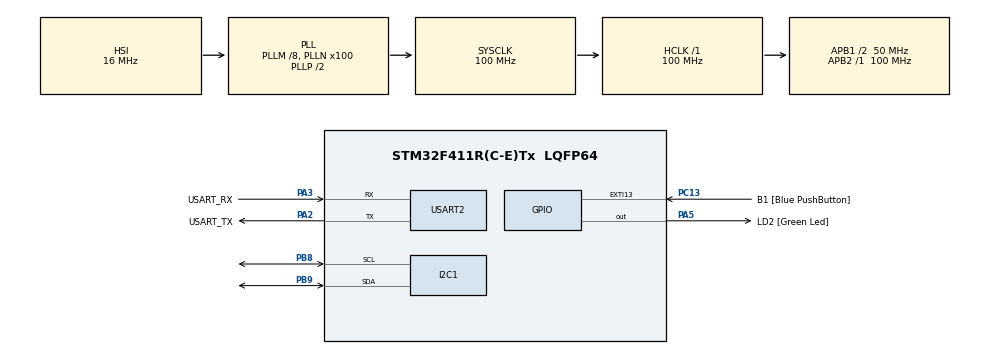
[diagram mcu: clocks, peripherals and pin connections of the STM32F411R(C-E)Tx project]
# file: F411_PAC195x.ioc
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I2C1.I2C_Mode=I2C_Fast
Mcu.Family=STM32F4
Mcu.Name=STM32F411R(C-E)Tx
Mcu.Package=LQFP64
NVIC.EXTI15_10_IRQn=true\:0\:0\:false\:false\:true\:true\:true\:true
NVIC.PriorityGroup=NVIC_PRIORITYGROUP_0
NVIC.TIM1_TRG_COM_TIM11_IRQn=true\:0\:0\:false\:false\:true\:true\:true\:true
PA13.GPIO_Label=TMS
PA13.Mode=Serial_Wire
PA13.Signal=SYS_JTMS-SWDIO
PA14.GPIO_Label=TCK
PA14.Mode=Serial_Wire
PA14.Signal=SYS_JTCK-SWCLK
PA2.GPIO_Label=USART_TX
PA2.Mode=Asynchronous
PA2.Signal=USART2_TX
PA3.GPIO_Label=USART_RX
PA3.Mode=Asynchronous
PA3.Signal=USART2_RX
PA5.GPIO_Label=LD2 [Green Led]
PA5.Signal=GPIO_Output
PB3.GPIO_Label=SWO
PB3.Signal=SYS_JTDO-SWO
PB8.Mode=I2C
PB8.Signal=I2C1_SCL
PB9.Mode=I2C
PB9.Signal=I2C1_SDA
PC13-ANTI_TAMP.GPIO_Label=B1 [Blue PushButton]
PC13-ANTI_TAMP.GPIO_ModeDefaultEXTI=GPIO_MODE_IT_FALLING
PC13-ANTI_TAMP.Signal=GPXTI13
PC14-OSC32_IN.Mode=LSE-External-Oscillator
PC14-OSC32_IN.Signal=RCC_OSC32_IN
PC15-OSC32_OUT.Mode=LSE-External-Oscillator
PC15-OSC32_OUT.Signal=RCC_OSC32_OUT
PH0\ -\ OSC_IN.Mode=HSE-External-Clock-Source
PH0\ -\ OSC_IN.Signal=RCC_OSC_IN
PH1\ -\ OSC_OUT.Mode=HSE-External-Clock-Source
PH1\ -\ OSC_OUT.Signal=RCC_OSC_OUT
ProjectManager.HeapSize=0x200
ProjectManager.StackSize=0x400
ProjectManager.TargetToolchain=STM32CubeIDE
RCC.48MHZClocksFreq_Value=50000000
RCC.AHBFreq_Value=100000000
RCC.APB1CLKDivider=RCC_HCLK_DIV2
RCC.APB1Freq_Value=50000000
RCC.APB1TimFreq_Value=100000000
RCC.APB2Freq_Value=100000000
RCC.APB2TimFreq_Value=100000000
RCC.CortexFreq_Value=100000000
RCC.FLatency-AdvancedSettings=FLASH_LATENCY_3
RCC.HCLKFreq_Value=100000000
RCC.HSE_VALUE=8000000
RCC.HSI_VALUE=16000000
RCC.PLLM=8
RCC.PLLN=100
RCC.SYSCLKFreq_VALUE=100000000
RCC.SYSCLKSource=RCC_SYSCLKSOURCE_PLLCLK
RCC.VCOOutputFreq_Value=200000000
TIM11.Prescaler=99
USART2.VirtualMode=VM_ASYNC
VP_TIM11_VS_ClockSourceINT.Mode=Enable_Timer
board=NUCLEO-F411RE

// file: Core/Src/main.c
/* USER CODE BEGIN Header */
/**
  ******************************************************************************
  * @file           : main.c
  * @brief          : Main program body
  ******************************************************************************
  * @attention
  *
  * Copyright (c) 2022 STMicroelectronics.
  * All rights reserved.
  *
  * This software is licensed under terms that can be found in the LICENSE file
  * in the root directory of this software component.
  * If no LICENSE file comes with this software, it is provided AS-IS.
  *
  ******************************************************************************
  */
/* USER CODE END Header */
#include "main.h"
/* USER CODE BEGIN Includes */
#include "PAC195X.h"
/* USER CODE END Includes */

/* USER CODE BEGIN PD */
#define ADDR_PAC 0b00100000 // 0010 000 (R/W)
/* USER CODE END PD */

I2C_HandleTypeDef hi2c1;

TIM_HandleTypeDef htim11;

UART_HandleTypeDef huart2;

/* USER CODE BEGIN PV */
uint32_t timeStampPAC = 0;

PAC_CTRL_Strc CTRL_read;
PAC_CTRL_Strc CTRL_ACT_read;
PAC_CTRL_Strc CTRL_LAT_read;

union testp_U{
	uint32_t tst32;
	uint16_t tst16[2];
	uint8_t tst8[4];
}testp;

union testp_U2{
	uint32_t tst32;
	uint16_t tst16[2];
	uint8_t tst8[4];
}testp_2;

uint8_t flag_pac = 0;
uint8_t flag_refresh = 0;
uint8_t hexis = 0x07;

float Busv = 0.0;
float Busvv = 0.0;
/* USER CODE END PV */

void SystemClock_Config(void);
static void MX_GPIO_Init(void);
static void MX_USART2_UART_Init(void);
static void MX_I2C1_Init(void);
static void MX_TIM11_Init(void);
/* USER CODE BEGIN PFP */
void PACread_8(uint8_t addres, uint8_t *RawRd, uint8_t num);
void PAC_Refresh();
/* USER CODE END PFP */

int main(void)
{

  /* MCU Configuration--------------------------------------------------------*/

  /* Reset of all peripherals, Initializes the Flash interface and the Systick. */
  HAL_Init();

  /* Configure the system clock */
  SystemClock_Config();

  /* Initialize all configured peripherals */
  MX_GPIO_Init();
  MX_USART2_UART_Init();
  MX_I2C1_Init();
  MX_TIM11_Init();
  /* USER CODE BEGIN 2 */
  //HAL_TIM_Base_Start_IT(&htim11); // micro timer
  PAC_Read_ID(&hi2c1, ADDR_PAC);

  /* USER CODE END 2 */

  /* Infinite loop */
  while (1)
  {

    /* USER CODE BEGIN 3 */
	  if(HAL_GetTick()-timeStampPAC >= 500){
		  timeStampPAC = HAL_GetTick();
		  //PACread_8(0x01, &testp.tst8[0], 4);

		  PACread_8(0x01, &CTRL_read.D8[0], 2);

		  PACread_8(hexis, &testp_2.tst8[0], 4);
		  Busvv = 0.000488281 * testp_2.tst16[1];
		  Busv = PAC_Cal_BusVolt(testp_2.tst16[1]);
		  PAC_Read_CTRL(&hi2c1, ADDR_PAC, 0);

//		  int aaa = PAC_CTRL_ACT_read.PACCTRL.SAMPLE_MODE;
//		  PAC_CTRL_read.PACCTRL.GPIO_ALERT2 = S_256AA;
	  }

  }
  /* USER CODE END 3 */
}

void SystemClock_Config(void)
{
  RCC_OscInitTypeDef RCC_OscInitStruct = {0};
  RCC_ClkInitTypeDef RCC_ClkInitStruct = {0};

  /** Configure the main internal regulator output voltage
  */
  __HAL_RCC_PWR_CLK_ENABLE();
  __HAL_PWR_VOLTAGESCALING_CONFIG(PWR_REGULATOR_VOLTAGE_SCALE1);

  /** Initializes the RCC Oscillators according to the specified parameters
  * in the RCC_OscInitTypeDef structure.
  */
  RCC_OscInitStruct.OscillatorType = RCC_OSCILLATORTYPE_HSI;
  RCC_OscInitStruct.HSIState = RCC_HSI_ON;
  RCC_OscInitStruct.HSICalibrationValue = RCC_HSICALIBRATION_DEFAULT;
  RCC_OscInitStruct.PLL.PLLState = RCC_PLL_ON;
  RCC_OscInitStruct.PLL.PLLSource = RCC_PLLSOURCE_HSI;
  RCC_OscInitStruct.PLL.PLLM = 8;
  RCC_OscInitStruct.PLL.PLLN = 100;
  RCC_OscInitStruct.PLL.PLLP = RCC_PLLP_DIV2;
  RCC_OscInitStruct.PLL.PLLQ = 4;
  if (HAL_RCC_OscConfig(&RCC_OscInitStruct) != HAL_OK)
  {
    Error_Handler();
  }

  /** Initializes the CPU, AHB and APB buses clocks
  */
  RCC_ClkInitStruct.ClockType = RCC_CLOCKTYPE_HCLK|RCC_CLOCKTYPE_SYSCLK
                              |RCC_CLOCKTYPE_PCLK1|RCC_CLOCKTYPE_PCLK2;
  RCC_ClkInitStruct.SYSCLKSource = RCC_SYSCLKSOURCE_PLLCLK;
  RCC_ClkInitStruct.AHBCLKDivider = RCC_SYSCLK_DIV1;
  RCC_ClkInitStruct.APB1CLKDivider = RCC_HCLK_DIV2;
  RCC_ClkInitStruct.APB2CLKDivider = RCC_HCLK_DIV1;

  if (HAL_RCC_ClockConfig(&RCC_ClkInitStruct, FLASH_LATENCY_3) != HAL_OK)
  {
    Error_Handler();
  }
}

static void MX_I2C1_Init(void)
{

  hi2c1.Instance = I2C1;
  hi2c1.Init.ClockSpeed = 400000;
  hi2c1.Init.DutyCycle = I2C_DUTYCYCLE_2;
  hi2c1.Init.OwnAddress1 = 0;
  hi2c1.Init.AddressingMode = I2C_ADDRESSINGMODE_7BIT;
  hi2c1.Init.DualAddressMode = I2C_DUALADDRESS_DISABLE;
  hi2c1.Init.OwnAddress2 = 0;
  hi2c1.Init.GeneralCallMode = I2C_GENERALCALL_DISABLE;
  hi2c1.Init.NoStretchMode = I2C_NOSTRETCH_DISABLE;
  if (HAL_I2C_Init(&hi2c1) != HAL_OK)
  {
    Error_Handler();
  }

}

static void MX_TIM11_Init(void)
{

  htim11.Instance = TIM11;
  htim11.Init.Prescaler = 99;
  htim11.Init.CounterMode = TIM_COUNTERMODE_UP;
  htim11.Init.Period = 65535;
  htim11.Init.ClockDivision = TIM_CLOCKDIVISION_DIV1;
  htim11.Init.AutoReloadPreload = TIM_AUTORELOAD_PRELOAD_DISABLE;
  if (HAL_TIM_Base_Init(&htim11) != HAL_OK)
  {
    Error_Handler();
  }

}

static void MX_USART2_UART_Init(void)
{

  huart2.Instance = USART2;
  huart2.Init.BaudRate = 115200;
  huart2.Init.WordLength = UART_WORDLENGTH_8B;
  huart2.Init.StopBits = UART_STOPBITS_1;
  huart2.Init.Parity = UART_PARITY_NONE;
  huart2.Init.Mode = UART_MODE_TX_RX;
  huart2.Init.HwFlowCtl = UART_HWCONTROL_NONE;
  huart2.Init.OverSampling = UART_OVERSAMPLING_16;
  if (HAL_UART_Init(&huart2) != HAL_OK)
  {
    Error_Handler();
  }

}

static void MX_GPIO_Init(void)
{
  GPIO_InitTypeDef GPIO_InitStruct = {0};

  /* GPIO Ports Clock Enable */
  __HAL_RCC_GPIOC_CLK_ENABLE();
  __HAL_RCC_GPIOH_CLK_ENABLE();
  __HAL_RCC_GPIOA_CLK_ENABLE();
  __HAL_RCC_GPIOB_CLK_ENABLE();

  /*Configure GPIO pin Output Level */
  HAL_GPIO_WritePin(LD2_GPIO_Port, LD2_Pin, GPIO_PIN_RESET);

  /*Configure GPIO pin : B1_Pin */
  GPIO_InitStruct.Pin = B1_Pin;
  GPIO_InitStruct.Mode = GPIO_MODE_IT_FALLING;
  GPIO_InitStruct.Pull = GPIO_NOPULL;
  HAL_GPIO_Init(B1_GPIO_Port, &GPIO_InitStruct);

  /*Configure GPIO pin : LD2_Pin */
  GPIO_InitStruct.Pin = LD2_Pin;
  GPIO_InitStruct.Mode = GPIO_MODE_OUTPUT_PP;
  GPIO_InitStruct.Pull = GPIO_NOPULL;
  GPIO_InitStruct.Speed = GPIO_SPEED_FREQ_LOW;
  HAL_GPIO_Init(LD2_GPIO_Port, &GPIO_InitStruct);

  /* EXTI interrupt init*/
  HAL_NVIC_SetPriority(EXTI15_10_IRQn, 0, 0);
  HAL_NVIC_EnableIRQ(EXTI15_10_IRQn);

}

/* USER CODE BEGIN 4 */
void PACread_8(uint8_t memadr,uint8_t *RawRd,uint8_t num){
	if(hi2c1.State == HAL_I2C_STATE_READY){
		//flag_pac != 0 &&
		//HAL_I2C_Master_Transmit(&hi2c1, ADDR_PAC, 0x00, 1, 100);

		HAL_I2C_Mem_Read(&hi2c1, ADDR_PAC, memadr, I2C_MEMADD_SIZE_8BIT,
				  			RawRd,
							num, 100);
		//flag_pac = 0;
		}
}

void PAC_Refresh(){
	if(flag_refresh != 0 && hi2c1.State == HAL_I2C_STATE_READY){

			//HAL_I2C_Master_Transmit(&hi2c1, ADDR_PAC, 0x00, 0, 100);
			HAL_I2C_Mem_Write(&hi2c1, ADDR_PAC, 0x00, I2C_MEMADD_SIZE_8BIT,
					0x00 , 1, 50);
			HAL_Delay(1);
			flag_refresh = 0;
		}
}

void HAL_GPIO_EXTI_Callback(uint16_t GPIO_Pin){
	if(GPIO_Pin == GPIO_PIN_13){
		flag_refresh = 1;
		}
}
/* USER CODE END 4 */

void Error_Handler(void)
{
  __disable_irq();
  while (1)
  {
  }
}
